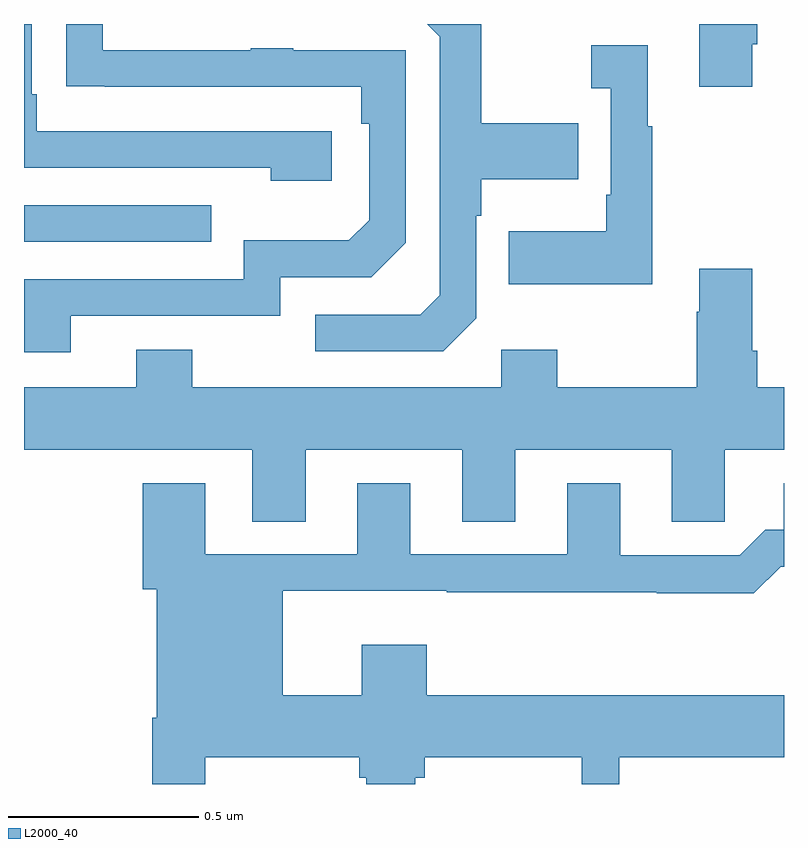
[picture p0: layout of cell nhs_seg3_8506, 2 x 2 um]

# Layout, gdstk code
import gdstk
lib = gdstk.Library(unit=1e-6, precision=1e-09)
def R(c, l, rs):  # rectangles x0, y0, x1, y1
    for r in rs: c.add(gdstk.rectangle(r[:2], r[2:], *l))
def P(c, l, *ps):  # polygons
    for p in ps: c.add(gdstk.Polygon(p, *l))
L2000_40 = (2000, 40)

nhs_seg3_8506 = lib.new_cell('nhs_seg3_8506')
R(nhs_seg3_8506, L2000_40, [(217,670.827,217.493,670.923)])
P(nhs_seg3_8506, L2000_40, [(218.917,671.347),(218.93,671.347),(218.93,671.4),(218.777,671.4),(218.777,671.235),(218.917,671.235)],
  [(218.19,670.626),(218.19,670.895),(218.203,670.895),(218.203,670.991),(218.459,670.991),(218.459,671.139),(218.203,671.139),(218.203,671.4),(218.061,671.4),(218.094,671.367),(218.094,670.686),(218.043,670.635),(217.767,670.635),(217.767,670.539),(218.103,670.539)],
  [(217.123,670.632),(217.674,670.632),(217.674,670.734),(217.914,670.734),(218.004,670.824),(218.004,671.331),(217.709,671.331),(217.709,671.336),(217.597,671.336),(217.597,671.331),(217.207,671.331),(217.207,671.4),(217.111,671.4),(217.111,671.236),(217.213,671.236),(217.213,671.235),(217.888,671.235),(217.888,671.138),(217.908,671.138),(217.908,670.884),(217.855,670.831),(217.578,670.831),(217.578,670.728),(217,670.728),(217,670.536),(217.123,670.536)],
  [(217.81,671.118),(217.033,671.118),(217.033,671.215),(217.02,671.215),(217.02,671.4),(217,671.4),(217,671.022),(217.649,671.022),(217.649,670.988),(217.81,670.988)],
  [(218.653,671.131),(218.641,671.131),(218.641,671.344),(218.493,671.344),(218.493,671.231),(218.544,671.231),(218.544,670.951),(218.532,670.951),(218.532,670.855),(218.275,670.855),(218.275,670.715),(218.653,670.715)],
  [(217.741,670.28),(218.153,670.28),(218.153,670.09),(218.293,670.09),(218.293,670.28),(218.705,670.28),(218.705,670.09),(218.844,670.09),(218.844,670.28),(219,670.28),(219,670.444),(218.93,670.444),(218.93,670.54),(218.917,670.54),(218.917,670.756),(218.777,670.756),(218.777,670.643),(218.77,670.643),(218.77,670.444),(218.403,670.444),(218.403,670.543),(218.256,670.543),(218.256,670.444),(217.443,670.444),(217.443,670.543),(217.295,670.543),(217.295,670.444),(217,670.444),(217,670.28),(217.601,670.28),(217.601,670.09),(217.741,670.09)],
  [(217.477,669.47),(217.882,669.47),(217.882,669.417),(217.901,669.417),(217.901,669.4),(218.029,669.4),(218.029,669.417),(218.055,669.417),(218.055,669.47),(218.468,669.47),(218.468,669.4),(218.566,669.4),(218.566,669.47),(219,669.47),(219,669.634),(218.06,669.634),(218.06,669.766),(217.889,669.766),(217.889,669.634),(217.681,669.634),(217.681,669.908),(218.113,669.908),(218.113,669.904),(218.665,669.904),(218.665,669.902),(218.921,669.902),(218.991,669.972),(219,669.972),(219,670.192),(218.999,670.192),(218.999,670.069),(218.95,670.069),(218.883,670.002),(218.569,670.002),(218.569,670.192),(218.429,670.192),(218.429,670.005),(218.017,670.005),(218.017,670.192),(217.877,670.192),(217.877,670.005),(217.477,670.005),(217.477,670.192),(217.313,670.192),(217.313,669.912),(217.349,669.912),(217.349,669.574),(217.337,669.574),(217.337,669.4),(217.477,669.4)])

lib.write_gds('nhs_seg3_8506.gds')
